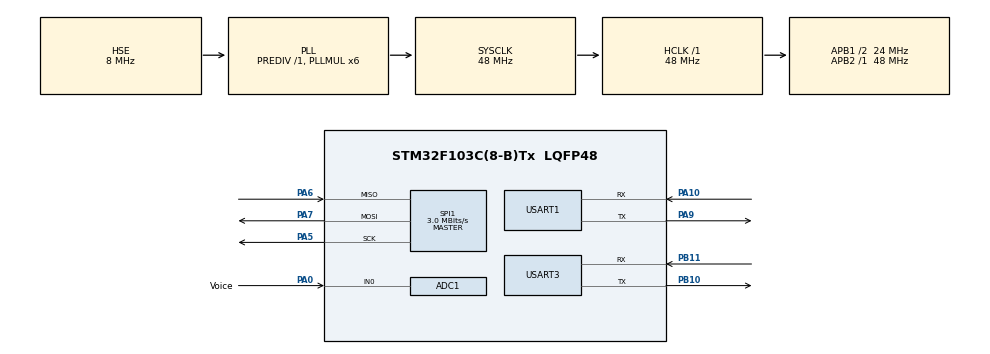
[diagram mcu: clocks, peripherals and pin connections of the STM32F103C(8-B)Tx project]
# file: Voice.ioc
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ADC1.Channel-1\#ChannelRegularConversion=ADC_CHANNEL_0
ADC1.ContinuousConvMode=ENABLE
ADC1.ExternalTrigConv=ADC_SOFTWARE_START
ADC1.InjNumberOfConversion=0
ADC1.NbrOfConversion=1
ADC1.NbrOfConversionFlag=1
ADC1.Rank-1\#ChannelRegularConversion=1
ADC1.SamplingTime-1\#ChannelRegularConversion=ADC_SAMPLETIME_239CYCLES_5
ADC1.master=1
Dma.ADC1.1.Direction=DMA_PERIPH_TO_MEMORY
Dma.ADC1.1.Instance=DMA1_Channel1
Dma.ADC1.1.MemDataAlignment=DMA_MDATAALIGN_HALFWORD
Dma.ADC1.1.MemInc=DMA_MINC_ENABLE
Dma.ADC1.1.Mode=DMA_CIRCULAR
Dma.ADC1.1.PeriphDataAlignment=DMA_PDATAALIGN_HALFWORD
Dma.ADC1.1.PeriphInc=DMA_PINC_DISABLE
Dma.ADC1.1.Priority=DMA_PRIORITY_LOW
Dma.Request0=SPI1_TX
Dma.Request1=ADC1
Dma.SPI1_TX.0.Direction=DMA_MEMORY_TO_PERIPH
Dma.SPI1_TX.0.Instance=DMA1_Channel3
Dma.SPI1_TX.0.MemDataAlignment=DMA_MDATAALIGN_BYTE
Dma.SPI1_TX.0.MemInc=DMA_MINC_ENABLE
Dma.SPI1_TX.0.Mode=DMA_NORMAL
Dma.SPI1_TX.0.PeriphDataAlignment=DMA_PDATAALIGN_BYTE
Dma.SPI1_TX.0.PeriphInc=DMA_PINC_DISABLE
Dma.SPI1_TX.0.Priority=DMA_PRIORITY_LOW
Mcu.Family=STM32F1
Mcu.Name=STM32F103C(8-B)Tx
Mcu.Package=LQFP48
NVIC.DMA1_Channel1_IRQn=true\:0\:0\:false\:false\:true\:false\:true
NVIC.DMA1_Channel3_IRQn=true\:0\:0\:false\:false\:true\:false\:true
NVIC.PriorityGroup=NVIC_PRIORITYGROUP_4
NVIC.TIM2_IRQn=true\:0\:0\:false\:false\:true\:false\:true
NVIC.TIM3_IRQn=true\:0\:0\:false\:false\:true\:true\:true
NVIC.TimeBase=TIM2_IRQn
NVIC.TimeBaseIP=TIM2
PA0-WKUP.GPIO_Label=Voice
PA0-WKUP.Signal=ADCx_IN0
PA10.Mode=Asynchronous
PA10.Signal=USART1_RX
PA13.Mode=Serial_Wire
PA13.Signal=SYS_JTMS-SWDIO
PA14.Mode=Serial_Wire
PA14.Signal=SYS_JTCK-SWCLK
PA5.Mode=Full_Duplex_Master
PA5.Signal=SPI1_SCK
PA6.Mode=Full_Duplex_Master
PA6.Signal=SPI1_MISO
PA7.Mode=Full_Duplex_Master
PA7.Signal=SPI1_MOSI
PA9.Mode=Asynchronous
PA9.Signal=USART1_TX
PB10.Mode=Asynchronous
PB10.Signal=USART3_TX
PB11.Mode=Asynchronous
PB11.Signal=USART3_RX
PD0-OSC_IN.Mode=HSE-External-Oscillator
PD0-OSC_IN.Signal=RCC_OSC_IN
PD1-OSC_OUT.Mode=HSE-External-Oscillator
PD1-OSC_OUT.Signal=RCC_OSC_OUT
ProjectManager.HeapSize=0x200
ProjectManager.StackSize=0x400
ProjectManager.TargetToolchain=MDK-ARM V5
RCC.ADCPresc=RCC_ADCPCLK2_DIV4
RCC.AHBFreq_Value=48000000
RCC.APB1CLKDivider=RCC_HCLK_DIV2
RCC.APB1Freq_Value=24000000
RCC.APB1TimFreq_Value=48000000
RCC.APB2Freq_Value=48000000
RCC.APB2TimFreq_Value=48000000
RCC.HCLKFreq_Value=48000000
RCC.PLLMUL=RCC_PLL_MUL6
RCC.PLLSourceVirtual=RCC_PLLSOURCE_HSE
RCC.SYSCLKFreq_VALUE=48000000
RCC.SYSCLKSource=RCC_SYSCLKSOURCE_PLLCLK
RCC.USBFreq_Value=48000000
SH.ADCx_IN0.0=ADC1_IN0,IN0
SPI1.BaudRatePrescaler=SPI_BAUDRATEPRESCALER_16
SPI1.CLKPolarity=SPI_POLARITY_HIGH
SPI1.CalculateBaudRate=3.0 MBits/s
SPI1.Direction=SPI_DIRECTION_2LINES
SPI1.Mode=SPI_MODE_MASTER
SPI1.VirtualType=VM_MASTER
TIM3.AutoReloadPreload=TIM_AUTORELOAD_PRELOAD_ENABLE
TIM3.Period=1000-1
TIM3.Prescaler=4800-1
TIM3.TIM_MasterOutputTrigger=TIM_TRGO_RESET
TIM3.TIM_MasterSlaveMode=TIM_MASTERSLAVEMODE_DISABLE
USART1.VirtualMode=VM_ASYNC
USART3.VirtualMode=VM_ASYNC
VP_SYS_VS_tim2.Mode=TIM2
VP_TIM3_VS_ClockSourceINT.Mode=Internal
board=custom

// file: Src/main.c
/* USER CODE BEGIN Header */
/**
  ******************************************************************************
  * @file           : main.c
  * @brief          : Main program body
  ******************************************************************************
  * @attention
  *
  * <h2><center>&copy; Copyright (c) 2019 STMicroelectronics.
  * All rights reserved.</center></h2>
  *
  * This software component is licensed by ST under BSD 3-Clause license,
  * the "License"; You may not use this file except in compliance with the
  * License. You may obtain a copy of the License at:
  *                        opensource.org/licenses/BSD-3-Clause
  *
  ******************************************************************************
  */
/* USER CODE END Header */

#include "main.h"
#include "adc.h"
#include "dma.h"
#include "spi.h"
#include "tim.h"
#include "usart.h"
#include "gpio.h"

/* USER CODE BEGIN Includes */
#include "myFFT.h"
/* USER CODE END Includes */

/* USER CODE BEGIN PV */
extern uint8_t time_flag;

uint8_t time = 0, time_flag = 0;
/* USER CODE END PV */

void SystemClock_Config(void);

int main(void)
{

  /* MCU Configuration--------------------------------------------------------*/

  /* Reset of all peripherals, Initializes the Flash interface and the Systick. */
  HAL_Init();

  /* Configure the system clock */
  SystemClock_Config();

  /* Initialize all configured peripherals */
  MX_GPIO_Init();
  MX_DMA_Init();
  MX_ADC1_Init();
  MX_SPI1_Init();
  MX_USART1_UART_Init();
  MX_USART3_UART_Init();
  MX_TIM3_Init();
  /* USER CODE BEGIN 2 */
	star_adc_dma();
	WS2812_Init();
	WS2812_send_data();
	HAL_TIM_Base_Start_IT(&htim3);
  /* USER CODE END 2 */

  /* Infinite loop */
  /* USER CODE BEGIN WHILE */
  while (1)
  {

		colorful();
		if(time_flag == 1){
			time_flag = 0;
//			stop_adc_dma();
//			HAL_TIM_Base_Stop_IT(&htim3);
			WS2812_Init();
			WS2812_send_data();
			printf("------------");
			star_adc_dma();
			HAL_TIM_Base_Start_IT(&htim3);
		}

//		FFT_calc();
//		HAL_Delay(1000);
//		for(int i = 0; i < 30; i++){
//			WS2812_data12X8bit_data(i,i*i,i*i*i,i*i*i);
//		}
//		WS2812_send_data();
    /* USER CODE END WHILE */

  }
}

void SystemClock_Config(void)
{
  RCC_OscInitTypeDef RCC_OscInitStruct = {0};
  RCC_ClkInitTypeDef RCC_ClkInitStruct = {0};
  RCC_PeriphCLKInitTypeDef PeriphClkInit = {0};

  /** Initializes the CPU, AHB and APB busses clocks
  */
  RCC_OscInitStruct.OscillatorType = RCC_OSCILLATORTYPE_HSE;
  RCC_OscInitStruct.HSEState = RCC_HSE_ON;
  RCC_OscInitStruct.HSEPredivValue = RCC_HSE_PREDIV_DIV1;
  RCC_OscInitStruct.HSIState = RCC_HSI_ON;
  RCC_OscInitStruct.PLL.PLLState = RCC_PLL_ON;
  RCC_OscInitStruct.PLL.PLLSource = RCC_PLLSOURCE_HSE;
  RCC_OscInitStruct.PLL.PLLMUL = RCC_PLL_MUL6;
  if (HAL_RCC_OscConfig(&RCC_OscInitStruct) != HAL_OK)
  {
    Error_Handler();
  }
  /** Initializes the CPU, AHB and APB busses clocks
  */
  RCC_ClkInitStruct.ClockType = RCC_CLOCKTYPE_HCLK|RCC_CLOCKTYPE_SYSCLK
                              |RCC_CLOCKTYPE_PCLK1|RCC_CLOCKTYPE_PCLK2;
  RCC_ClkInitStruct.SYSCLKSource = RCC_SYSCLKSOURCE_PLLCLK;
  RCC_ClkInitStruct.AHBCLKDivider = RCC_SYSCLK_DIV1;
  RCC_ClkInitStruct.APB1CLKDivider = RCC_HCLK_DIV2;
  RCC_ClkInitStruct.APB2CLKDivider = RCC_HCLK_DIV1;

  if (HAL_RCC_ClockConfig(&RCC_ClkInitStruct, FLASH_LATENCY_1) != HAL_OK)
  {
    Error_Handler();
  }
  PeriphClkInit.PeriphClockSelection = RCC_PERIPHCLK_ADC;
  PeriphClkInit.AdcClockSelection = RCC_ADCPCLK2_DIV4;
  if (HAL_RCCEx_PeriphCLKConfig(&PeriphClkInit) != HAL_OK)
  {
    Error_Handler();
  }
}

void HAL_TIM_PeriodElapsedCallback(TIM_HandleTypeDef *htim)
{
  if (htim->Instance == TIM2) {
    HAL_IncTick();
  }
  /* USER CODE BEGIN Callback 1 */
  if (htim->Instance == TIM3) {
    time++;
		if(time > 20){
			time_flag = 1;
			time = 0;
		}
  }
  /* USER CODE END Callback 1 */
}

void Error_Handler(void)
{
}

/************************ (C) COPYRIGHT STMicroelectronics *****END OF FILE****/
